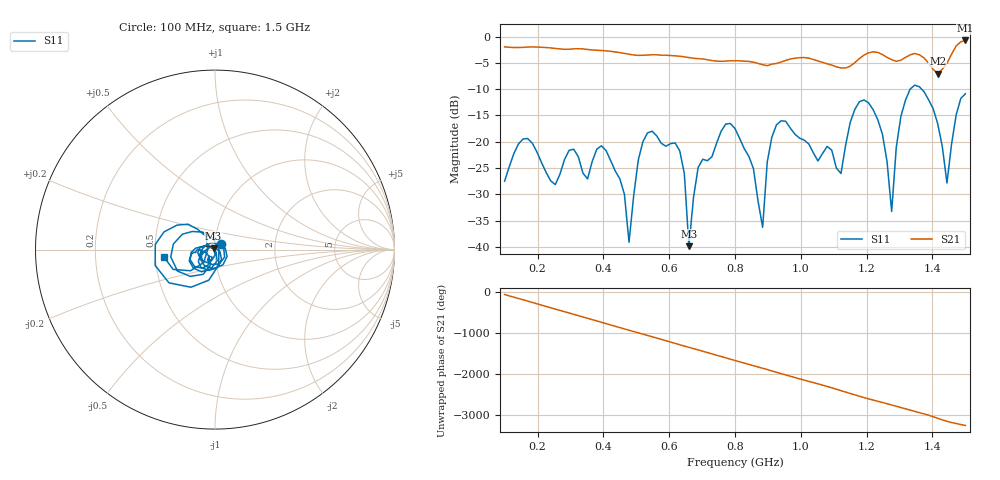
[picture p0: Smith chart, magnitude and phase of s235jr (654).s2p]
! NanoVNA-App
! Date: 2025-09-25 15:09:15
! Start: 100MHz Stop: 1,5GHz Points: 101
! S-Parameter data: F S11 S21 S12 S22
# Hz S RI R 50
!  Frequency  S11_Real  S11_Imag  S21_Real  S21_Imag  S12_Real  S12_Imag  S22_Real  S22_Imag
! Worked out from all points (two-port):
!   101 points, 100 MHz to 1.5 GHz, reference 50 ohm
!   highest |S21| = -0.74 dB at 1.5 GHz (marker M1); lowest = -7.1 dB at 1.416 GHz (marker M2)
!   |S21| within 3 dB of the highest: start of sweep to 632.7 MHz; 1.187 GHz to 1.256 GHz (68.99 MHz wide, 5.65 % of centre) (the widest 2 of 4)
!   lowest |S11| = -39.8 dB at 660 MHz (marker M3), VSWR 1.02, Z = 49.2 + j0.64 ohm
!   |S11| at or under -10 dB: start of sweep to 1.332 GHz; 1.367 GHz to end of sweep
!   S12 and S22 are empty: the file has one direction only
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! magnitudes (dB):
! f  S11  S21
! 100 MHz  -27.5  -2.0
! 156 MHz  -19.5  -2.1
! 338 MHz  -26.0  -2.3
! 408 MHz  -21.6  -2.7
! 478 MHz  -39.1  -3.4
! 520 MHz  -20.0  -3.6
! 576 MHz  -20.3  -3.5
! 632 MHz  -21.7  -3.7
! 660 MHz  -39.8  -4.0
! 688 MHz  -24.9  -4.2
! 800 MHz  -17.5  -4.6
! 884 MHz  -36.2  -5.3
! 926 MHz  -16.8  -5.1
! 1.038 GHz  -22.1  -4.4
! 1.122 GHz  -26.0  -6.0
! 1.206 GHz  -12.6  -3.1
! 1.276 GHz  -33.2  -4.4
! 1.304 GHz  -15.2  -4.5
! 1.332 GHz  -10.0  -3.5
! 1.416 GHz  -16.6  -7.1
! 1.444 GHz  -27.8  -5.1
! 1.5 GHz  -10.9  -0.7
